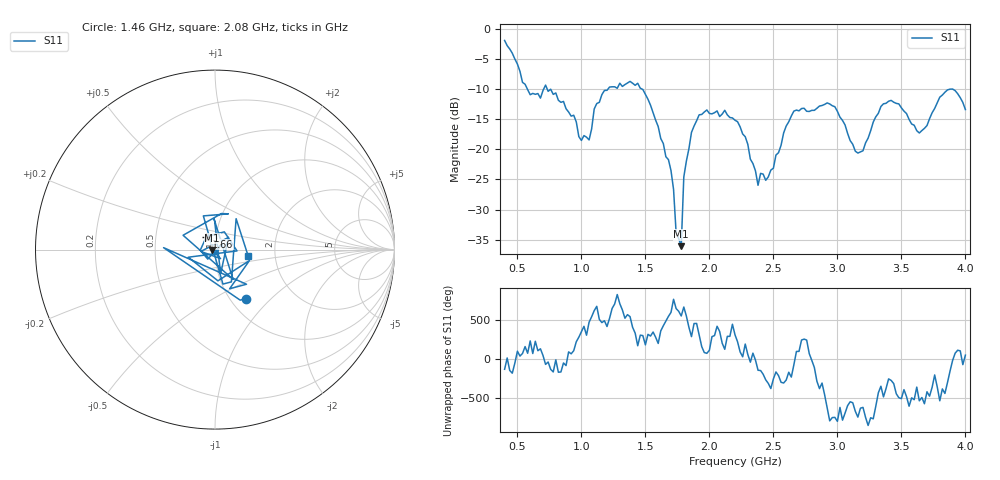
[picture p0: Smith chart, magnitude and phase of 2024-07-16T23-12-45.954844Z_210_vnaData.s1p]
!Created with skrf (http://scikit-rf.org).
# Hz S RI R 50.0
!freq ReS11 ImS11
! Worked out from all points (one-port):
!   181 points, 400 MHz to 4 GHz, reference 50 ohm
!   lowest |S11| = -36.1 dB at 1.78 GHz (marker M1), VSWR 1.03, Z = 48.5 - j0.195 ohm
!   |S11| at or under -10 dB: 578.3 MHz to 704.8 MHz (126.6 MHz wide, 19.7 % of centre); 733.1 MHz to 1.207 GHz (473.8 MHz wide, 48.8 % of centre); 1.475 GHz to 3.88 GHz (2.405 GHz wide, 89.8 % of centre) (the widest 3 of 4)
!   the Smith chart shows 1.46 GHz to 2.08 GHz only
!   S11 on the Smith chart (normalised r, x): 1.46 GHz: 1.18, -0.72; 1.66 GHz: 0.90, +0.13; 2.08 GHz: 1.45, -0.10
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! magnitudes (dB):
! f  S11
! 400 MHz  -1.9
! 600 MHz  -10.9
! 860 MHz  -12.0
! 1.06 GHz  -18.4
! 1.12 GHz  -12.4
! 1.3 GHz  -9.0
! 1.46 GHz  -9.8
! 1.66 GHz  -21.2
! 1.7 GHz  -23.5
! 1.74 GHz  -33.9
! 1.76 GHz  -34.8
! 1.78 GHz  -36.1
! 1.8 GHz  -24.6
! 1.86 GHz  -17.2
! 1.98 GHz  -13.5
! 2.08 GHz  -14.5
! 2.2 GHz  -15.2
! 2.38 GHz  -26.0
! 2.5 GHz  -23.1
! 2.66 GHz  -13.6
! 2.94 GHz  -12.5
! 3.1 GHz  -18.6
! 3.2 GHz  -20.2
! 3.4 GHz  -12.0
! 3.56 GHz  -15.0
! 3.64 GHz  -17.3
! 3.88 GHz  -10.0
! 4 GHz  -13.4
